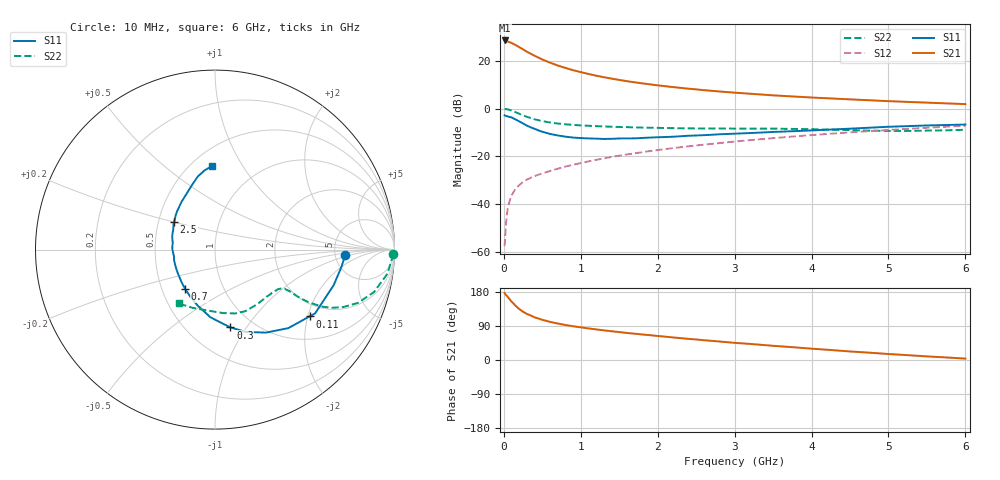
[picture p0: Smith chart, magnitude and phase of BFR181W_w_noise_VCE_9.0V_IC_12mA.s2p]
! (c) 2017  Infineon Technologies AG, Munich
! Infineon Technologies  Discrete & RF Semiconductors
! BFR181W
! VCE =  9.0 V,  IC =  12 mA
! Common Emitter S-Parameters:  Jan 2017
# GHz  S  MA  R  50
!  f  S11  S21  S12  S22
! GHz  MAG  ANG  MAG  ANG  MAG  ANG  MAG  ANG
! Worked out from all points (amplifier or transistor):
!   77 points, 10 MHz to 6 GHz, reference 50 ohm
!   highest |S21| = 28.7 dB at 10 MHz (marker M1)
!   |S21| within 3 dB of that: start of sweep to 209.7 MHz
!   unconditionally stable (mu >= 1): 981.4 MHz to 2.957 GHz
!   at 130 MHz: K = 0.29, MSG = 30.9 dB, |S12| = -34.8 dB
!   at 2.2 GHz: K = 1.05, MAG = 11.5 dB, |S12| = -16.5 dB
!   at 6 GHz: K = 0.85, MSG = 4.5 dB, |S12| = -7.2 dB
!   lowest NFmin = 1.34 dB at 450 MHz
!   S11 on the Smith chart (normalised r, x): 10 MHz: 6.24, -0.74; 110 MHz: 1.61, -2.06; 300 MHz: 0.79, -0.85; 700 MHz: 0.66, -0.31; 2.5 GHz: 0.60, +0.20; 6 GHz: 0.63, +0.75
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0.01  0.7271 -2.2  27.13 176.8  0.0013 84.9  0.9907 -1.4
0.02  0.7109 -7.8  26.52 173.6  0.0023 93.6  0.9873 -3.0
0.05  0.6905 -16.6  25.88 166.4  0.0079 79.4  0.9706 -7.9
0.1  0.6613 -32.5  24.12 154.0  0.015 76.1  0.9165 -15.0
0.11  0.6456 -35.2  23.62 152.1  0.0161 74.6  0.9027 -16.0
0.15  0.5983 -47.0  21.93 143.6  0.0206 70.1  0.8507 -20.4
0.2  0.5425 -58.5  19.62 134.6  0.0248 67.8  0.7838 -24.1
0.25  0.4902 -69.4  17.59 127.3  0.029 65.1  0.7248 -26.6
0.3  0.4421 -78.8  15.74 121.5  0.0325 63.6  0.6739 -28.1
0.4  0.3777 -93.9  12.91 112.5  0.0386 63.3  0.5988 -29.4
0.5  0.3285 -106.6  10.8 106.0  0.0438 63.0  0.5491 -29.7
0.6  0.2959 -117.7  9.279 100.7  0.0494 63.4  0.5141 -29.5
0.7  0.2747 -127.5  8.088 96.3  0.0548 65.3  0.4891 -29.2
0.9  0.2479 -144.7  6.444 89.1  0.0665 66.0  0.4581 -29.3
1.1  0.238 -158.7  5.367 83.4  0.0784 67.8  0.439 -29.7
1.5  0.2375 179.7  4.022 73.7  0.1034 68.3  0.4133 -32.5
2.1  0.2546 157.4  2.969 61.5  0.1421 67.3  0.3933 -40.3
2.5  0.2744 146.3  2.545 54.1  0.1693 65.9  0.3861 -46.9
3.1  0.3038 132.9  2.118 43.9  0.2116 62.9  0.3819 -57.2
4.1  0.356 115.2  1.689 28.5  0.287 56.4  0.3685 -74.6
5.1  0.4232 102.1  1.422 14.6  0.3659 48.2  0.3415 -99.3
6  0.4661 91.9  1.25 3.7  0.439 39.9  0.3615 -124.0
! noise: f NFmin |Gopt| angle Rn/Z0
0.45  1.34  0.1  16  0.21
0.9  1.38  0.1  32  0.21
1.9  1.82  0.07  -151  0.21
2.4  2.01  0.08  -113  0.26
